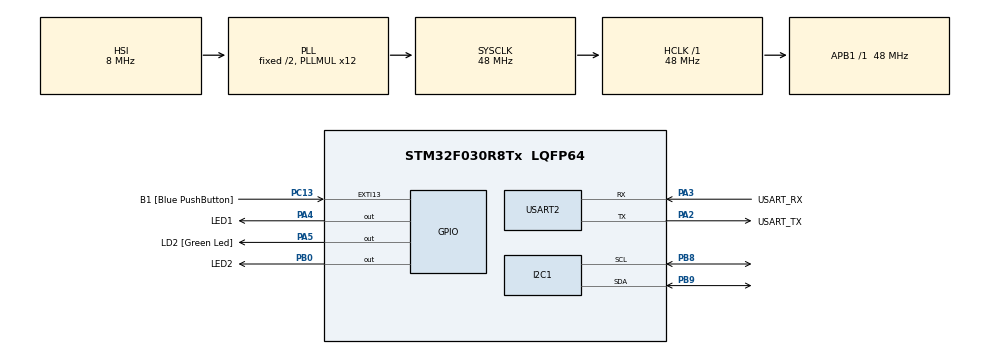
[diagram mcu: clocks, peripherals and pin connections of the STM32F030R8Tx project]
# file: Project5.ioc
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Dma.Request0=USART2_RX
Dma.USART2_RX.0.Direction=DMA_PERIPH_TO_MEMORY
Dma.USART2_RX.0.Instance=DMA1_Channel5
Dma.USART2_RX.0.MemDataAlignment=DMA_MDATAALIGN_BYTE
Dma.USART2_RX.0.MemInc=DMA_MINC_ENABLE
Dma.USART2_RX.0.Mode=DMA_CIRCULAR
Dma.USART2_RX.0.PeriphDataAlignment=DMA_PDATAALIGN_BYTE
Dma.USART2_RX.0.PeriphInc=DMA_PINC_DISABLE
Dma.USART2_RX.0.Priority=DMA_PRIORITY_LOW
I2C1.Timing=0x00201D2B
Mcu.Family=STM32F0
Mcu.Name=STM32F030R8Tx
Mcu.Package=LQFP64
NVIC.DMA1_Channel4_5_IRQn=true\:0\:0\:false\:false\:true\:false\:true\:true
PA13.GPIO_Label=TMS
PA13.Mode=Serial_Wire
PA13.Signal=SYS_SWDIO
PA14.GPIO_Label=TCK
PA14.Mode=Serial_Wire
PA14.Signal=SYS_SWCLK
PA2.GPIO_Label=USART_TX
PA2.GPIO_Mode=GPIO_MODE_AF_PP
PA2.GPIO_PuPd=GPIO_NOPULL
PA2.GPIO_Speed=GPIO_SPEED_FREQ_LOW
PA2.Mode=Asynchronous
PA2.Signal=USART2_TX
PA3.GPIO_Label=USART_RX
PA3.GPIO_Mode=GPIO_MODE_AF_PP
PA3.GPIO_PuPd=GPIO_NOPULL
PA3.GPIO_Speed=GPIO_SPEED_FREQ_LOW
PA3.Mode=Asynchronous
PA3.Signal=USART2_RX
PA4.GPIO_Label=LED1
PA4.Signal=GPIO_Output
PA5.GPIO_Label=LD2 [Green Led]
PA5.GPIO_Mode=GPIO_MODE_OUTPUT_PP
PA5.GPIO_PuPd=GPIO_NOPULL
PA5.GPIO_Speed=GPIO_SPEED_FREQ_LOW
PA5.Signal=GPIO_Output
PB0.GPIO_Label=LED2
PB0.Signal=GPIO_Output
PB8.Mode=I2C
PB8.Signal=I2C1_SCL
PB9.Mode=I2C
PB9.Signal=I2C1_SDA
PC13.GPIO_Label=B1 [Blue PushButton]
PC13.GPIO_ModeDefaultEXTI=GPIO_MODE_IT_FALLING
PC13.Signal=GPXTI13
PC14-OSC32_IN.Mode=LSE-External-Oscillator
PC14-OSC32_IN.Signal=RCC_OSC32_IN
PC15-OSC32_OUT.Mode=LSE-External-Oscillator
PC15-OSC32_OUT.Signal=RCC_OSC32_OUT
PF0-OSC_IN.Mode=HSE-External-Clock-Source
PF0-OSC_IN.Signal=RCC_OSC_IN
PF1-OSC_OUT.Signal=RCC_OSC_OUT
ProjectManager.HeapSize=0x200
ProjectManager.StackSize=0x400
ProjectManager.TargetToolchain=STM32CubeIDE
RCC.AHBFreq_Value=48000000
RCC.APB1Freq_Value=48000000
RCC.APB1TimFreq_Value=48000000
RCC.HCLKFreq_Value=48000000
RCC.PLLMUL=RCC_PLL_MUL12
RCC.SYSCLKFreq_VALUE=48000000
RCC.SYSCLKSource=RCC_SYSCLKSOURCE_PLLCLK
USART2.VirtualMode-Asynchronous=VM_ASYNC
board=NUCLEO-F030R8

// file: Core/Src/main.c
/* USER CODE BEGIN Header */
/**
  ******************************************************************************
  * @file           : main.c
  * @brief          : Main program body
  ******************************************************************************
  * @attention
  *
  * Copyright (c) 2024 STMicroelectronics.
  * All rights reserved.
  *
  * This software is licensed under terms that can be found in the LICENSE file
  * in the root directory of this software component.
  * If no LICENSE file comes with this software, it is provided AS-IS.
  *
  ******************************************************************************
  */
/* USER CODE END Header */
#include "main.h"

/* USER CODE BEGIN Includes */
#include <stdio.h>
#include <stdlib.h>
#include <string.h>
/* USER CODE END Includes */

I2C_HandleTypeDef hi2c1;

UART_HandleTypeDef huart2;
DMA_HandleTypeDef hdma_usart2_rx;

/* USER CODE BEGIN PV */

#define RX_BUFFER_LEN 64
#define CMD_BUFFER_LEN 128
static uint8_t uart_rx_buf[RX_BUFFER_LEN];
static volatile uint16_t uart_rx_read_ptr = 0;
#define uart_rx_write_ptr (RX_BUFFER_LEN - hdma_usart2_rx.Instance->CNDTR)

#define LED1_GPIO_PORT GPIOA
#define LED1_GPIO_PIN  GPIO_PIN_4
#define LED2_GPIO_PORT GPIOB
#define LED2_GPIO_PIN  GPIO_PIN_0

#define EEPROM_ADDR 0xA0

/* USER CODE END PV */

void SystemClock_Config(void);
static void MX_GPIO_Init(void);
static void MX_DMA_Init(void);
static void MX_USART2_UART_Init(void);
static void MX_I2C1_Init(void);
/* USER CODE BEGIN PFP */

int _write(int file, char const *buf, int n)
{
 /* stdout redirection to UART2 */
 HAL_UART_Transmit(&huart2, (uint8_t*)(buf), n, HAL_MAX_DELAY);
 return n;
}

/* USER CODE END PFP */

/* USER CODE BEGIN 0 */

static void uart_process_command(char *cmd){
	//printf("%s\n",cmd);

	uint8_t value;
		uint16_t addr;
		char *token;
		uint8_t dump[16];
		token = strtok(cmd, " ");

	if (strcasecmp(token, "HELLO") == 0) {
		printf("Communication OK\n");
	}

	else if (strcasecmp(token, "LED1") == 0) {
		token = strtok(NULL, " ");  // Get the next token (ON/OFF)
		if (strcasecmp(token, "ON") == 0) {
			HAL_GPIO_WritePin(LED1_GPIO_PORT, LED1_GPIO_PIN, GPIO_PIN_SET);  // Turn on LED1
			printf("LED1 ON\n");
		} else if (strcasecmp(token, "OFF") == 0) {
			HAL_GPIO_WritePin(LED1_GPIO_PORT, LED1_GPIO_PIN, GPIO_PIN_RESET);  // Turn off LED1
			printf("LED1 OFF\n");
		}
		printf("OK\n");
	}
	// Check if the command is related to "LED2"
	else if (strcasecmp(token, "LED2") == 0) {
		token = strtok(NULL, " ");  // Get the next token (ON/OFF)
		if (strcasecmp(token, "ON") == 0) {
			HAL_GPIO_WritePin(LED2_GPIO_PORT, LED2_GPIO_PIN, GPIO_PIN_SET);  // Turn on LED2
			printf("LED2 ON\n");
		} else if (strcasecmp(token, "OFF") == 0) {
			HAL_GPIO_WritePin(LED2_GPIO_PORT, LED2_GPIO_PIN, GPIO_PIN_RESET);  // Turn off LED2
			printf("LED2 OFF\n");
		}
		printf("OK\n");
	}

	else if (strcasecmp(token, "STATUS") == 0) {
		uint8_t status1 = HAL_GPIO_ReadPin(LED1_GPIO_PORT, LED1_GPIO_PIN);  // Read status of LED1
		uint8_t status2 = HAL_GPIO_ReadPin(LED2_GPIO_PORT, LED2_GPIO_PIN);  // Read status of LED2
		printf("LED1: %3s LED2: %3s\n", (status1 ? "ON" : "OFF"), (status2 ? "ON" : "OFF"));
	}

	else if (strcasecmp(token, "READ") == 0) {
		token = strtok(NULL, " ");
		addr = atoi(token);
		HAL_I2C_Mem_Read(&hi2c1, EEPROM_ADDR, addr, I2C_MEMADD_SIZE_16BIT, &value, 1, 1000);
		printf("Address %x = %x\n", addr, value);

	}

	else if (strcasecmp(token, "WRITE") == 0) {
		token = strtok(NULL, " ");
		addr = atoi(token);
		token = strtok(NULL, " ");
		value = atoi(token);
		HAL_I2C_Mem_Write(&hi2c1, EEPROM_ADDR, addr, I2C_MEMADD_SIZE_16BIT, &value, 1, 1000);

		while (HAL_I2C_IsDeviceReady(&hi2c1, EEPROM_ADDR, 300, 1000) == HAL_TIMEOUT) {}

		printf("OK\n");
	}

	else if (strcasecmp(token, "DUMP") == 0) {
		//0x0000 to 0x000F
		HAL_I2C_Mem_Read(&hi2c1, EEPROM_ADDR, 0, I2C_MEMADD_SIZE_16BIT, dump, 16, 1000);

		for(uint16_t i = 0; i < 16; i++){
			printf("%02x ", dump[i]);
			if (i % 8 == 7){
				printf("\n");
			}
		}
	}

	}

static void uart_byte_available(uint8_t c)
{
	static uint16_t cnt;
	static char data[CMD_BUFFER_LEN];
	if (cnt < CMD_BUFFER_LEN && c >= 32 && c <= 126) data[cnt++] = c;
	if ((c == '\n' || c == '\r') && cnt > 0) {
		data[cnt] = '\0';
		uart_process_command(data);
		cnt = 0;
	}
}

/* USER CODE END 0 */

int main(void)
{

  /* MCU Configuration--------------------------------------------------------*/

  /* Reset of all peripherals, Initializes the Flash interface and the Systick. */
  HAL_Init();

  /* Configure the system clock */
  SystemClock_Config();

  /* Initialize all configured peripherals */
  MX_GPIO_Init();
  MX_DMA_Init();
  MX_USART2_UART_Init();
  MX_I2C1_Init();
  /* USER CODE BEGIN 2 */
  HAL_UART_Receive_DMA(&huart2, uart_rx_buf, RX_BUFFER_LEN);

  /* USER CODE END 2 */

  /* Infinite loop */
  /* USER CODE BEGIN WHILE */
  while (1)
  {
	  //uint8_t c;
	  //HAL_UART_Receive(&huart2, &c, 1, HAL_MAX_DELAY);
	 	 // HAL_UART_Transmit(&huart2, &c, 1, HAL_MAX_DELAY);

	  while (uart_rx_read_ptr != uart_rx_write_ptr) {
	   uint8_t b = uart_rx_buf[uart_rx_read_ptr];
	   // increase read pointer
	   if (++uart_rx_read_ptr >= RX_BUFFER_LEN) uart_rx_read_ptr = 0;
	   // process every received byte with the RX state machine
	   uart_byte_available(b);
	  }

    /* USER CODE END WHILE */

  }
}

void SystemClock_Config(void)
{
  RCC_OscInitTypeDef RCC_OscInitStruct = {0};
  RCC_ClkInitTypeDef RCC_ClkInitStruct = {0};
  RCC_PeriphCLKInitTypeDef PeriphClkInit = {0};

  /** Initializes the RCC Oscillators according to the specified parameters
  * in the RCC_OscInitTypeDef structure.
  */
  RCC_OscInitStruct.OscillatorType = RCC_OSCILLATORTYPE_HSI;
  RCC_OscInitStruct.HSIState = RCC_HSI_ON;
  RCC_OscInitStruct.HSICalibrationValue = RCC_HSICALIBRATION_DEFAULT;
  RCC_OscInitStruct.PLL.PLLState = RCC_PLL_ON;
  RCC_OscInitStruct.PLL.PLLSource = RCC_PLLSOURCE_HSI;
  RCC_OscInitStruct.PLL.PLLMUL = RCC_PLL_MUL12;
  RCC_OscInitStruct.PLL.PREDIV = RCC_PREDIV_DIV1;
  if (HAL_RCC_OscConfig(&RCC_OscInitStruct) != HAL_OK)
  {
    Error_Handler();
  }

  /** Initializes the CPU, AHB and APB buses clocks
  */
  RCC_ClkInitStruct.ClockType = RCC_CLOCKTYPE_HCLK|RCC_CLOCKTYPE_SYSCLK
                              |RCC_CLOCKTYPE_PCLK1;
  RCC_ClkInitStruct.SYSCLKSource = RCC_SYSCLKSOURCE_PLLCLK;
  RCC_ClkInitStruct.AHBCLKDivider = RCC_SYSCLK_DIV1;
  RCC_ClkInitStruct.APB1CLKDivider = RCC_HCLK_DIV1;

  if (HAL_RCC_ClockConfig(&RCC_ClkInitStruct, FLASH_LATENCY_1) != HAL_OK)
  {
    Error_Handler();
  }
  PeriphClkInit.PeriphClockSelection = RCC_PERIPHCLK_I2C1;
  PeriphClkInit.I2c1ClockSelection = RCC_I2C1CLKSOURCE_HSI;
  if (HAL_RCCEx_PeriphCLKConfig(&PeriphClkInit) != HAL_OK)
  {
    Error_Handler();
  }
}

static void MX_I2C1_Init(void)
{

  hi2c1.Instance = I2C1;
  hi2c1.Init.Timing = 0x00201D2B;
  hi2c1.Init.OwnAddress1 = 0;
  hi2c1.Init.AddressingMode = I2C_ADDRESSINGMODE_7BIT;
  hi2c1.Init.DualAddressMode = I2C_DUALADDRESS_DISABLE;
  hi2c1.Init.OwnAddress2 = 0;
  hi2c1.Init.OwnAddress2Masks = I2C_OA2_NOMASK;
  hi2c1.Init.GeneralCallMode = I2C_GENERALCALL_DISABLE;
  hi2c1.Init.NoStretchMode = I2C_NOSTRETCH_DISABLE;
  if (HAL_I2C_Init(&hi2c1) != HAL_OK)
  {
    Error_Handler();
  }

  /** Configure Analogue filter
  */
  if (HAL_I2CEx_ConfigAnalogFilter(&hi2c1, I2C_ANALOGFILTER_ENABLE) != HAL_OK)
  {
    Error_Handler();
  }

  /** Configure Digital filter
  */
  if (HAL_I2CEx_ConfigDigitalFilter(&hi2c1, 0) != HAL_OK)
  {
    Error_Handler();
  }

}

static void MX_USART2_UART_Init(void)
{

  huart2.Instance = USART2;
  huart2.Init.BaudRate = 38400;
  huart2.Init.WordLength = UART_WORDLENGTH_8B;
  huart2.Init.StopBits = UART_STOPBITS_1;
  huart2.Init.Parity = UART_PARITY_NONE;
  huart2.Init.Mode = UART_MODE_TX_RX;
  huart2.Init.HwFlowCtl = UART_HWCONTROL_NONE;
  huart2.Init.OverSampling = UART_OVERSAMPLING_16;
  huart2.Init.OneBitSampling = UART_ONE_BIT_SAMPLE_DISABLE;
  huart2.AdvancedInit.AdvFeatureInit = UART_ADVFEATURE_NO_INIT;
  if (HAL_UART_Init(&huart2) != HAL_OK)
  {
    Error_Handler();
  }

}

static void MX_DMA_Init(void)
{

  /* DMA controller clock enable */
  __HAL_RCC_DMA1_CLK_ENABLE();

  /* DMA interrupt init */
  /* DMA1_Channel4_5_IRQn interrupt configuration */
  HAL_NVIC_SetPriority(DMA1_Channel4_5_IRQn, 0, 0);
  HAL_NVIC_EnableIRQ(DMA1_Channel4_5_IRQn);

}

static void MX_GPIO_Init(void)
{
  GPIO_InitTypeDef GPIO_InitStruct = {0};

  /* GPIO Ports Clock Enable */
  __HAL_RCC_GPIOC_CLK_ENABLE();
  __HAL_RCC_GPIOF_CLK_ENABLE();
  __HAL_RCC_GPIOA_CLK_ENABLE();
  __HAL_RCC_GPIOB_CLK_ENABLE();

  /*Configure GPIO pin Output Level */
  HAL_GPIO_WritePin(GPIOA, LED1_Pin|LD2_Pin, GPIO_PIN_RESET);

  /*Configure GPIO pin Output Level */
  HAL_GPIO_WritePin(LED2_GPIO_Port, LED2_Pin, GPIO_PIN_RESET);

  /*Configure GPIO pin : B1_Pin */
  GPIO_InitStruct.Pin = B1_Pin;
  GPIO_InitStruct.Mode = GPIO_MODE_IT_FALLING;
  GPIO_InitStruct.Pull = GPIO_NOPULL;
  HAL_GPIO_Init(B1_GPIO_Port, &GPIO_InitStruct);

  /*Configure GPIO pins : LED1_Pin LD2_Pin */
  GPIO_InitStruct.Pin = LED1_Pin|LD2_Pin;
  GPIO_InitStruct.Mode = GPIO_MODE_OUTPUT_PP;
  GPIO_InitStruct.Pull = GPIO_NOPULL;
  GPIO_InitStruct.Speed = GPIO_SPEED_FREQ_LOW;
  HAL_GPIO_Init(GPIOA, &GPIO_InitStruct);

  /*Configure GPIO pin : LED2_Pin */
  GPIO_InitStruct.Pin = LED2_Pin;
  GPIO_InitStruct.Mode = GPIO_MODE_OUTPUT_PP;
  GPIO_InitStruct.Pull = GPIO_NOPULL;
  GPIO_InitStruct.Speed = GPIO_SPEED_FREQ_LOW;
  HAL_GPIO_Init(LED2_GPIO_Port, &GPIO_InitStruct);

}

void Error_Handler(void)
{
  __disable_irq();
  while (1)
  {
  }
}
